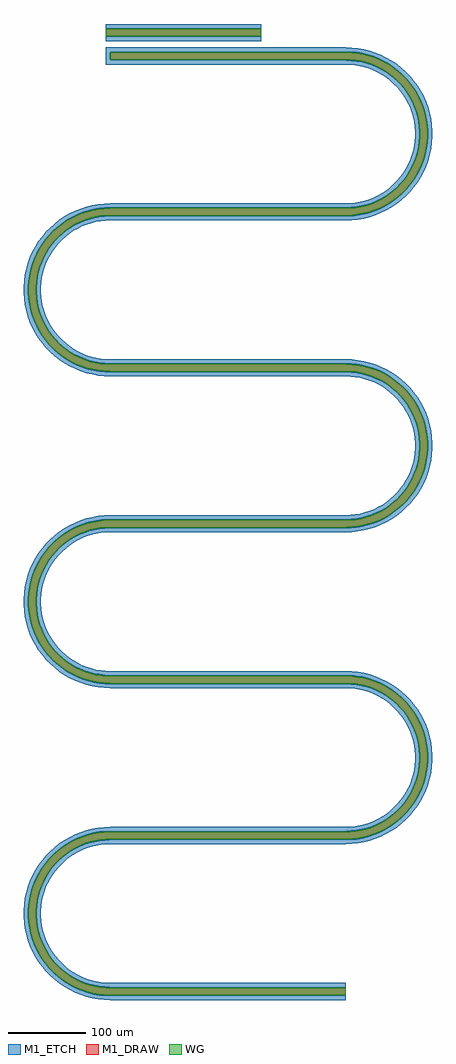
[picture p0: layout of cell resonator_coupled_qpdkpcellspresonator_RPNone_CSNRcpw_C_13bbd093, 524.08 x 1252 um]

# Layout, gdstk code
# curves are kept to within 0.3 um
from math import pi, radians
import gdstk
lib = gdstk.Library(unit=1e-6, precision=1e-09)
def R(c, l, rs):  # rectangles x0, y0, x1, y1
    for r in rs: c.add(gdstk.rectangle(r[:2], r[2:], *l))
def P(c, l, *ps):  # polygons
    for p in ps: c.add(gdstk.Polygon(p, *l))
M1_DRAW = (1, 0)
M1_ETCH = (1, 1)
WG = (102, 0)

straight_l302p2042857142 = lib.new_cell('straight_L302p2042857142857_CScoplanar_waveguide')
R(straight_l302p2042857142, M1_DRAW, [(0,-5,302.204,5)])
R(straight_l302p2042857142, M1_ETCH, [(0,-11,302.204,-5), (0,5,302.204,11)])
R(straight_l302p2042857142, WG, [(0,-5,302.204,5)])

bend_circular_cscoplanar = lib.new_cell('bend_circular_CScoplanar_waveguide_A180_AS4')
P(bend_circular_cscoplanar, M1_DRAW, [(0,-5),(0,5),(13.221,5.928),(19.751,7.079),(26.185,8.683),(38.639,13.216),(50.341,19.438),(55.838,23.146),(61.063,27.228),(70.596,36.435),(78.756,46.878),(85.383,58.356),(88.08,64.414),(92.175,77.018),(93.554,83.504),(94.939,96.685),(94.477,109.93),(93.554,116.496),(92.175,122.982),(88.08,135.586),(85.383,141.644),(78.756,153.122),(70.596,163.565),(61.063,172.772),(55.838,176.854),(50.341,180.562),(38.639,186.784),(26.185,191.317),(19.751,192.921),(13.221,194.072),(0,195),(0,205),(14.614,203.981),(28.943,200.935),(35.913,198.671),(42.709,195.925),(55.643,189.048),(67.495,180.437),(72.941,175.533),(82.744,164.646),(87.051,158.717),(90.935,152.502),(97.357,139.335),(99.864,132.448),(103.408,118.234),(104.939,103.665),(104.428,89.024),(103.408,81.766),(99.864,67.552),(97.357,60.665),(90.935,47.498),(87.051,41.283),(82.744,35.354),(72.941,24.467),(67.495,19.563),(55.643,10.952),(42.709,4.075),(35.913,1.329),(28.943,-0.935),(14.614,-3.981)])
P(bend_circular_cscoplanar, M1_ETCH, [(0,-11),(0,-5),(14.614,-3.981),(28.943,-0.935),(35.913,1.329),(42.709,4.075),(55.643,10.952),(67.495,19.563),(72.941,24.467),(82.744,35.354),(87.051,41.283),(90.935,47.498),(97.357,60.665),(99.864,67.552),(103.408,81.766),(104.939,96.335),(104.428,110.976),(103.408,118.234),(99.864,132.448),(97.357,139.335),(90.935,152.502),(82.744,164.646),(78.032,170.261),(67.495,180.437),(55.643,189.048),(49.296,192.712),(35.913,198.671),(21.831,202.708),(7.325,204.747),(0,205),(0,211),(15.449,209.926),(23.08,208.581),(37.967,204.312),(45.15,201.41),(58.825,194.139),(71.354,185.036),(77.112,179.852),(87.474,168.343),(92.029,162.074),(96.135,155.503),(102.924,141.584),(105.574,134.303),(109.32,119.276),(110.939,103.874),(110.399,88.397),(109.32,80.724),(105.574,65.697),(102.924,58.416),(96.135,44.497),(92.029,37.926),(87.474,31.657),(77.112,20.148),(71.354,14.964),(58.825,5.861),(45.15,-1.41),(37.967,-4.312),(23.08,-8.581),(15.449,-9.926)],
  [(0,5),(0,11),(12.385,11.873),(18.503,12.951),(24.53,14.454),(36.197,18.701),(47.159,24.529),(57.204,31.827),(61.82,35.984),(70.128,45.21),(73.779,50.236),(79.987,60.988),(84.638,72.5),(86.35,78.471),(88.506,90.698),(88.939,96.894),(88.506,109.302),(86.35,121.529),(84.638,127.5),(79.987,139.012),(77.07,144.497),(70.128,154.79),(66.135,159.548),(57.204,168.173),(52.309,171.997),(47.159,175.471),(36.197,181.299),(24.53,185.546),(18.503,187.049),(12.385,188.127),(0,189),(0,195),(13.221,194.072),(19.751,192.921),(26.185,191.317),(38.639,186.784),(50.341,180.562),(61.063,172.772),(65.99,168.335),(74.859,158.486),(78.756,153.122),(85.383,141.644),(88.08,135.586),(92.175,122.982),(94.477,109.93),(94.939,103.315),(94.477,90.07),(93.554,83.504),(92.175,77.018),(88.08,64.414),(85.383,58.356),(78.756,46.878),(74.859,41.514),(65.99,31.665),(61.063,27.228),(50.341,19.438),(38.639,13.216),(26.185,8.683),(19.751,7.079),(13.221,5.928)])
P(bend_circular_cscoplanar, WG, [(0,-5),(0,5),(13.221,5.928),(19.751,7.079),(26.185,8.683),(38.639,13.216),(50.341,19.438),(55.838,23.146),(61.063,27.228),(70.596,36.435),(78.756,46.878),(85.383,58.356),(88.08,64.414),(92.175,77.018),(93.554,83.504),(94.939,96.685),(94.477,109.93),(93.554,116.496),(92.175,122.982),(88.08,135.586),(85.383,141.644),(78.756,153.122),(70.596,163.565),(61.063,172.772),(55.838,176.854),(50.341,180.562),(38.639,186.784),(26.185,191.317),(19.751,192.921),(13.221,194.072),(0,195),(0,205),(14.614,203.981),(28.943,200.935),(35.913,198.671),(42.709,195.925),(55.643,189.048),(67.495,180.437),(72.941,175.533),(82.744,164.646),(87.051,158.717),(90.935,152.502),(97.357,139.335),(99.864,132.448),(103.408,118.234),(104.939,103.665),(104.428,89.024),(103.408,81.766),(99.864,67.552),(97.357,60.665),(90.935,47.498),(87.051,41.283),(82.744,35.354),(72.941,24.467),(67.495,19.563),(55.643,10.952),(42.709,4.075),(35.913,1.329),(28.943,-0.935),(14.614,-3.981)])

rectangle_gdsfactorypcom = lib.new_cell('rectangle_gdsfactorypcomponentspshapesprectangle_S6_22__2d316d18')
R(rectangle_gdsfactorypcom, M1_ETCH, [(-3,-11,3,11)])

resonator_qpdkpcellspres = lib.new_cell('resonator_qpdkpcellspresonator_L4000_M6_BSbend_circular_a05716ae')
resonator_qpdkpcellspres.add(gdstk.Reference(straight_l302p2042857142, (0,0)))
resonator_qpdkpcellspres.add(gdstk.Reference(bend_circular_cscoplanar, (302.204,0), x_reflection=True))
resonator_qpdkpcellspres.add(gdstk.Reference(straight_l302p2042857142, (302.204,-200), rotation=pi))
resonator_qpdkpcellspres.add(gdstk.Reference(bend_circular_cscoplanar, (0,-200), rotation=pi))
resonator_qpdkpcellspres.add(gdstk.Reference(straight_l302p2042857142, (0,-400)))
resonator_qpdkpcellspres.add(gdstk.Reference(bend_circular_cscoplanar, (302.204,-400), x_reflection=True))
resonator_qpdkpcellspres.add(gdstk.Reference(straight_l302p2042857142, (302.204,-600), rotation=pi))
resonator_qpdkpcellspres.add(gdstk.Reference(bend_circular_cscoplanar, (0,-600), rotation=pi))
resonator_qpdkpcellspres.add(gdstk.Reference(straight_l302p2042857142, (0,-800)))
resonator_qpdkpcellspres.add(gdstk.Reference(bend_circular_cscoplanar, (302.204,-800), x_reflection=True))
resonator_qpdkpcellspres.add(gdstk.Reference(straight_l302p2042857142, (302.204,-1000), rotation=pi))
resonator_qpdkpcellspres.add(gdstk.Reference(bend_circular_cscoplanar, (0,-1000), rotation=pi))
resonator_qpdkpcellspres.add(gdstk.Reference(straight_l302p2042857142, (0,-1200)))
resonator_qpdkpcellspres.add(gdstk.Reference(rectangle_gdsfactorypcom, (-3,0)))

straight_l200_cscoplanar = lib.new_cell('straight_L200_CScoplanar_waveguide')
R(straight_l200_cscoplanar, M1_DRAW, [(0,-5,200,5)])
R(straight_l200_cscoplanar, M1_ETCH, [(0,-11,200,-5), (0,5,200,11)])
R(straight_l200_cscoplanar, WG, [(0,-5,200,5)])

resonator_coupled_qpdkpc = lib.new_cell('resonator_coupled_qpdkpcellspresonator_RPNone_CSNRcpw_C_13bbd093')
resonator_coupled_qpdkpc.add(gdstk.Reference(resonator_qpdkpcellspres, (0,0)))
resonator_coupled_qpdkpc.add(gdstk.Reference(straight_l200_cscoplanar, (-6,30)))

lib.write_gds('resonator_coupled_qpdkpcellspresonator_RPNone_CSNRcpw_C_13bbd093.gds')
